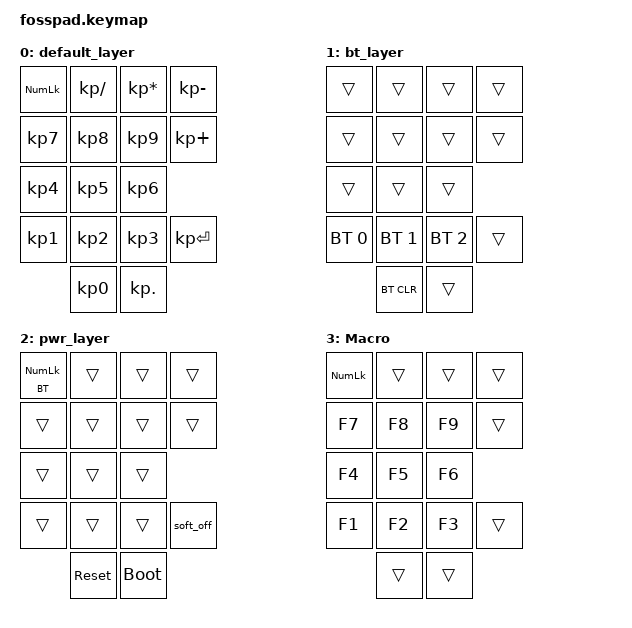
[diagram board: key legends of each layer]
#include <behaviors.dtsi>
#include <dt-bindings/zmk/bt.h>
#include <dt-bindings/zmk/keys.h>

#define DEFAULT 0
#define BT 1
#define POWER 2

&soft_off { hold-time-ms = <3000>; };

/ {
    combos {
        compatible = "zmk,combos";

        BT_CONF {
            bindings = <&sl 1>;
            key-positions = <0 1>;
        };

        POWER_CONF {
            bindings = <&sl 2>;
            key-positions = <0 2>;
        };
    };

    behaviors {
        Macro_Layer: Macro_Layer {
            compatible = "zmk,behavior-tap-dance";
            label = "MACRO_LAYER";
            #binding-cells = <0>;
            bindings = <&kp KP_NUM>, <&tog 3>;
        };
    };

    keymap {
        compatible = "zmk,keymap";

        default_layer {
            // | BTLayer |  /   |   *   |   -   |
            // |    7    |  8   |   9   |   +   |
            // |    4    |  5   |   6   |       |
            // |    1    |  2   |   3   | Enter |
            // |         |  0   |   .   |       |

            bindings = <
&kp KP_NUM  &kp KP_SLASH  &kp KP_ASTERISK  &kp KP_SUBTRACT
&kp KP_N7     &kp KP_N8     &kp KP_N9        &kp KP_PLUS
&kp KP_N4     &kp KP_N5     &kp KP_N6
&kp KP_N1     &kp KP_N2     &kp KP_N3        &kp KP_ENTER
              &kp KP_N0     &kp KP_DOT
            >;
        };

        bt_layer {
            // | BTLayer | TBTL  | DFLT  |  TPWR |
            // |  FLASH  |   8   |   9   |   +   |
            // | *CLRBT  | CLRBT |   6   |       |
            // |   BT0   |  BT1  |  BT2  | Enter |
            // |         |  TBT  |   .   |       |

            bindings = <
&trans        &trans        &trans        &trans
&trans        &trans        &trans        &trans
&trans        &trans        &trans
&bt BT_SEL 0  &bt BT_SEL 1  &bt BT_SEL 2  &trans
              &bt BT_CLR    &trans
            >;
        };

        pwr_layer {
            // | BTLayer | TBTL  | TDFLT |  TPWR |
            // |  FLASH  |   8   |   9   |   +   |
            // | *CLRBT  | CLRBT |   6   |       |
            // |   BT0   |  BT1  |  BT2  | Enter |
            // |         |  TBT  |   .   |       |

            bindings = <
&lt BT KP_NUMLOCK  &trans      &trans       &trans
&trans             &trans      &trans       &trans
&trans             &trans      &trans
&trans             &trans      &trans       &soft_off
                   &sys_reset  &bootloader
            >;
        };

        Macro {
            bindings = <
&kp KP_NUM  &trans  &trans  &trans
&kp F7        &kp F8  &kp F9  &trans
&kp F4        &kp F5  &kp F6
&kp F1        &kp F2  &kp F3  &trans
              &trans  &trans
            >;
        };
    };
};

